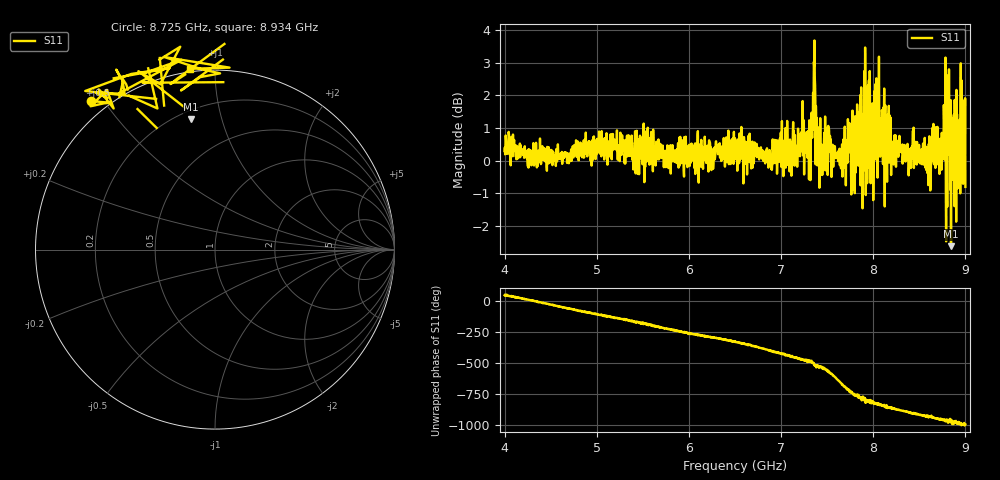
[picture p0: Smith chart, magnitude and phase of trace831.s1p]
! Created with skrf 1.8.0 (http://scikit-rf.org).
# Hz S RI R 50.0
!freq ReS11 ImS11
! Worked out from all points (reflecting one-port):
!   1601 points, 4 GHz to 9 GHz, reference 50 ohm
!   lowest |S11| = -2.6 dB at 8.844 GHz (marker M1), VSWR 6.66, Z = 12.5 + j40.1 ohm
!   phase of S11 starts at 49 deg and turns -1045 deg over the sweep
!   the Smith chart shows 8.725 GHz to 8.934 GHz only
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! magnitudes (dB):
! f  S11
! 4 GHz  0.3
! 4.625 GHz  -0.1
! 5.25 GHz  0.0
! 5.875 GHz  -0.1
! 6.5 GHz  0.7
! 7.125 GHz  0.3
! 7.303 GHz  -0.6
! 7.328 GHz  1.1
! 7.347 GHz  2.1
! 7.372 GHz  1.8
! 7.397 GHz  0.7
! 7.438 GHz  -0.3
! 7.512 GHz  1.1
! 7.644 GHz  -0.1
! 7.75 GHz  0.2
! 7.788 GHz  0.6
! 7.85 GHz  0.3
! 7.875 GHz  0.9
! 7.928 GHz  1.8
! 7.997 GHz  1.2
! 8.075 GHz  0.1
! 8.375 GHz  0.2
! 8.6 GHz  -0.1
! 8.759 GHz  0.4
! 8.844 GHz  -2.6
! 8.919 GHz  -0.3
! 8.972 GHz  0.4
! 9 GHz  -0.8
